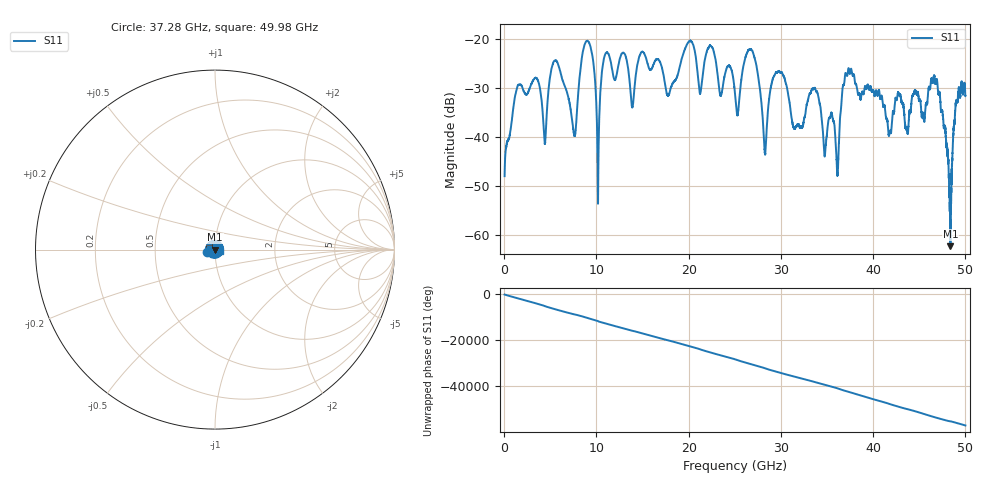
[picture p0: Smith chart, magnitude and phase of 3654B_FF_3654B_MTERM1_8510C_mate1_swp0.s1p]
!Created with skrf (http://scikit-rf.org).
# Hz S RI R 50.0
!freq ReS11 ImS11
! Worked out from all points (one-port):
!   10001 points, 45 MHz to 50 GHz, reference 50 ohm
!   lowest |S11| = -62.3 dB at 48.38 GHz (marker M1), VSWR 1.00, Z = 50 - j0.074 ohm
!   |S11| at or under -10 dB: start of sweep to end of sweep
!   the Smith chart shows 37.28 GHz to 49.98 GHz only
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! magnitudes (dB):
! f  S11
! 45 MHz  -48.0
! 1.539 GHz  -29.4
! 3.567 GHz  -28.1
! 4.396 GHz  -41.4
! 5.28 GHz  -25.1
! 6.289 GHz  -28.2
! 7.618 GHz  -39.8
! 9.137 GHz  -20.6
! 10.18 GHz  -52.6
! 10.91 GHz  -23.4
! 12.53 GHz  -24.1
! 13.89 GHz  -34.0
! 14.93 GHz  -22.7
! 18.78 GHz  -27.5
! 22.4 GHz  -21.5
! 25.02 GHz  -31.2
! 26.72 GHz  -22.2
! 28.25 GHz  -43.2
! 29.61 GHz  -26.8
! 31.27 GHz  -37.4
! 33.67 GHz  -30.0
! 36.11 GHz  -47.5
! 37.51 GHz  -26.9
! 43.76 GHz  -39.3
! 46.75 GHz  -29.2
! 48.38 GHz  -62.3
! 49.09 GHz  -32.9
! 50 GHz  -31.6
